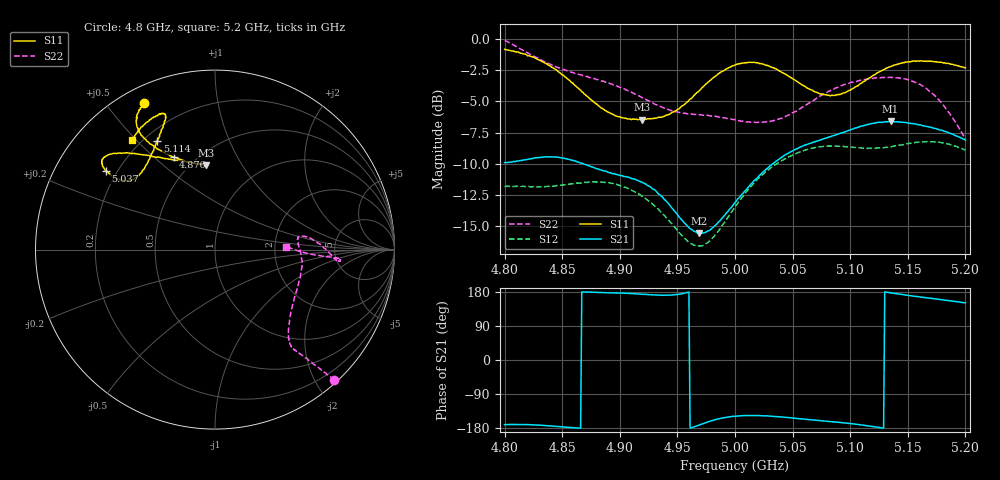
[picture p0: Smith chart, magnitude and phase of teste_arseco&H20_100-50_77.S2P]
! Network Analyzer HP8722D
! Hewlett-Packard
! Data name: Linha & Wilkinson
! Saver's name: Rodrigo Anjos
! Comments: Teste da utilização de aquisição
! continua pelo VNA HP8722D
! Time and date: 6/5/2025 13:12
!  Frequency  S11  S21  S12  S22
# HZ  S  MA R 50
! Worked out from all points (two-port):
!   401 points, 4.8 GHz to 5.2 GHz, reference 50 ohm
!   highest |S21| = -6.61 dB at 5.135 GHz (marker M1); lowest = -15.6 dB at 4.969 GHz (marker M2)
!   |S21| within 3 dB of the highest: 4.822 GHz to 4.854 GHz (31.73 MHz wide, 0.656 % of centre); 5.039 GHz to end of sweep
!   lowest |S11| = -6.5 dB at 4.919 GHz (marker M3), VSWR 2.80, Z = 29.3 + j35.6 ohm
!   |S11| at or under -10 dB: nowhere
!   |S22| runs from -8.0 to -0.1 dB; largest |S21 - S12| = 0.83
!   S11 on the Smith chart (normalised r, x): 4.8 GHz: 0.07, +0.63; 4.876 GHz: 0.38, +0.58; 5.037 GHz: 0.16, +0.32; 5.114 GHz: 0.25, +0.57; 5.2 GHz: 0.17, +0.48
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4.8e9  0.9066 115.8  0.3199 -170.6  0.2568 -86.0  0.984 -47.5
4.832e9  0.8132 122.4  0.3358 -172.4  0.256 -77.6  0.8207 -49.5
4.845e9  0.7501 122.7  0.3362 -175.2  0.2586 -73.2  0.7713 -50.3
4.867e9  0.6136 118.0  0.3178 179.7  0.2653 -67.4  0.7158 -51.5
4.876e9  0.5651 114.1  0.3074 178.6  0.2673 -66.3  0.6948 -51.9
4.901e9  0.4856 100.7  0.284 176.6  0.2578 -66.7  0.6384 -49.9
4.919e9  0.474 96.0  0.2675 173.7  0.235 -68.7  0.5834 -44.9
4.934e9  0.4856 99.1  0.2391 171.1  0.2071 -69.4  0.5387 -37.4
4.949e9  0.5162 108.7  0.2012 172.7  0.1736 -66.1  0.5096 -27.7
4.969e9  0.6201 123.4  0.1668 -171.5  0.1483 -47.8  0.497 -15.1
4.98e9  0.6905 129.4  0.1742 -159.9  0.1588 -35.0  0.4906 -9.3
5e9  0.7853 137.3  0.2214 -148.5  0.213 -21.4  0.474 -0.3
5.018e9  0.8015 141.7  0.2736 -146.5  0.2698 -18.2  0.4627 5.9
5.037e9  0.752 144.1  0.3271 -149.6  0.3176 -18.2  0.4756 9.0
5.067e9  0.6227 142.0  0.3846 -158.1  0.3653 -20.6  0.5627 4.7
5.089e9  0.5973 132.4  0.4146 -164.2  0.3715 -23.8  0.6387 -1.9
5.114e9  0.6855 118.0  0.4521 -173.1  0.3643 -26.6  0.6877 -5.3
5.134e9  0.7708 111.3  0.4662 177.9  0.369 -28.7  0.7006 -4.8
5.135e9  0.7734 111.0  0.4674 177.4  0.3703 -28.8  0.7012 -4.7
5.161e9  0.8165 112.2  0.4527 166.1  0.3869 -35.0  0.6557 -3.8
5.179e9  0.8051 118.5  0.4316 159.0  0.3839 -40.7  0.5556 -3.1
5.2e9  0.7645 127.3  0.3927 150.7  0.359 -46.4  0.3974 2.5
